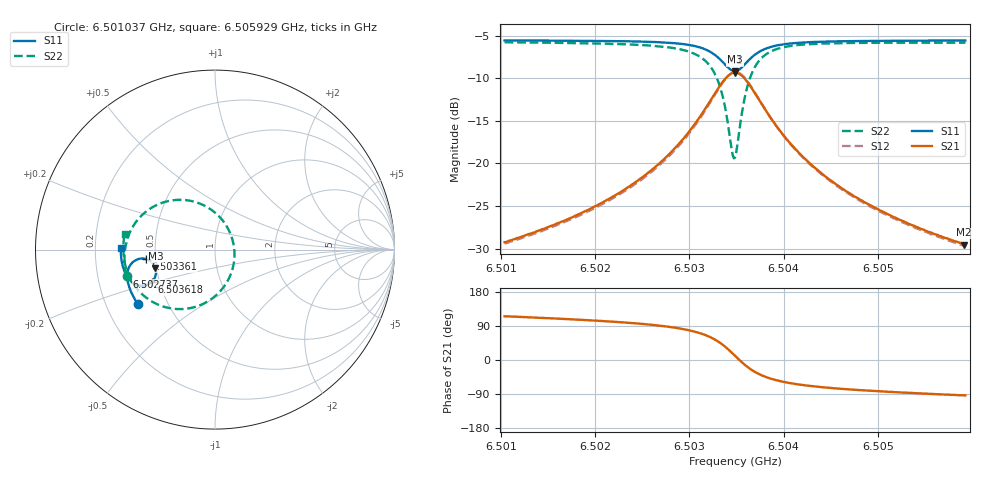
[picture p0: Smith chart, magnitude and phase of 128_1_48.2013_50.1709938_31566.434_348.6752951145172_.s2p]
#  HZ  S  RI  R  50.00
! Rohde & Schwarz Vector Network Analyzer
! Rohde-Schwarz,ZNB20-2Port,1311601062101988,3.16
! Created: UTC 3/20/2024, 11:41:47 AM
! freq[Hz]  re:S11  im:S11  re:S21  im:S21  re:S12  im:S12  re:S22  im:S22
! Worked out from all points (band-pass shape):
!   401 points, 6.501037 GHz to 6.505929 GHz, reference 50 ohm
!   highest |S21| = -9.34 dB at 6.503483 GHz (marker M1); lowest = -29.5 dB at 6.505917 GHz (marker M2)
!   |S21| within 3 dB of the highest: 6.503239 GHz to 6.503728 GHz (489.2 kHz wide, 0.00752 % of centre)
!   lowest |S11| = -9.2 dB at 6.503483 GHz (marker M3), VSWR 2.07, Z = 24.6 - j5.8 ohm
!   |S11| at or under -10 dB: nowhere
!   |S22| runs from -19.4 to -5.8 dB; largest |S21 - S12| = 0.012
!   S11 on the Smith chart (normalised r, x): 6.501037 GHz: 0.34, -0.28; 6.502737 GHz: 0.33, -0.14; 6.503361 GHz: 0.44, -0.05; 6.503618 GHz: 0.45, -0.19; 6.505929 GHz: 0.31, +0.01
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6.5010374e9  -0.4302 -0.3034  -0.0148 0.0312  -0.0131 0.0311  -0.4925 -0.1455
6.5018568e9  -0.4648 -0.2421  -0.014 0.0493  -0.0117 0.0488  -0.5041 -0.0566
6.5022971e9  -0.48 -0.2026  -0.011 0.0686  -0.00809 0.0675  -0.5004 0.0073
6.5026762e9  -0.4886 -0.1599  -0.00157 0.0995  0.00226 0.0971  -0.479 0.0854
6.5027373e9  -0.4891 -0.1516  0.00172 0.1069  0.00563 0.1042  -0.472 0.1016
6.5029575e9  -0.4854 -0.1165  0.0241 0.1425  0.0278 0.1381  -0.4255 0.1726
6.5031165e9  -0.4707 -0.0843  0.0638 0.1786  0.0667 0.1727  -0.348 0.2363
6.5032632e9  -0.4326 -0.0545  0.1462 0.2076  0.1469 0.2012  -0.1976 0.2774
6.5033611e9  -0.3859 -0.0517  0.2381 0.1906  0.2384 0.1859  -0.038 0.2334
6.5034467e9  -0.3428 -0.0812  0.317 0.1154  0.3195 0.1109  0.0875 0.0847
6.5034834e9  -0.3318 -0.1035  0.3347 0.0661  0.3381 0.0604  0.1081 -0.00762
6.5035078e9  -0.3288 -0.1198  0.3379 0.0312  0.3419 0.0243  0.1055 -0.0716
6.5035445e9  -0.3311 -0.1441  0.3304 -0.0192  0.3338 -0.0283  0.0775 -0.1611
6.5036179e9  -0.3534 -0.1813  0.2832 -0.0959  0.283 -0.1076  -0.034 -0.2848
6.503728e9  -0.3995 -0.2014  0.1957 -0.1414  0.1902 -0.1512  -0.2116 -0.3311
6.503887e9  -0.4467 -0.1919  0.1113 -0.1374  0.104 -0.1426  -0.3637 -0.282
6.5040582e9  -0.4748 -0.1705  0.0655 -0.1163  0.059 -0.1184  -0.4375 -0.2147
6.5043028e9  -0.4958 -0.1407  0.0347 -0.0908  0.0298 -0.0913  -0.4817 -0.1408
6.5046575e9  -0.5111 -0.103  0.0157 -0.0672  0.0123 -0.067  -0.5041 -0.067
6.5051222e9  -0.5209 -0.0592  0.00511 -0.0496  0.00288 -0.0488  -0.5108 0.001
6.5059172e9  -0.526 0.00841  -0.00184 -0.0333  -0.00342 -0.0328  -0.5035 0.0869
6.5059294e9  -0.5259 0.00933  -0.00189 -0.0334  -0.00332 -0.0325  -0.5034 0.0882
